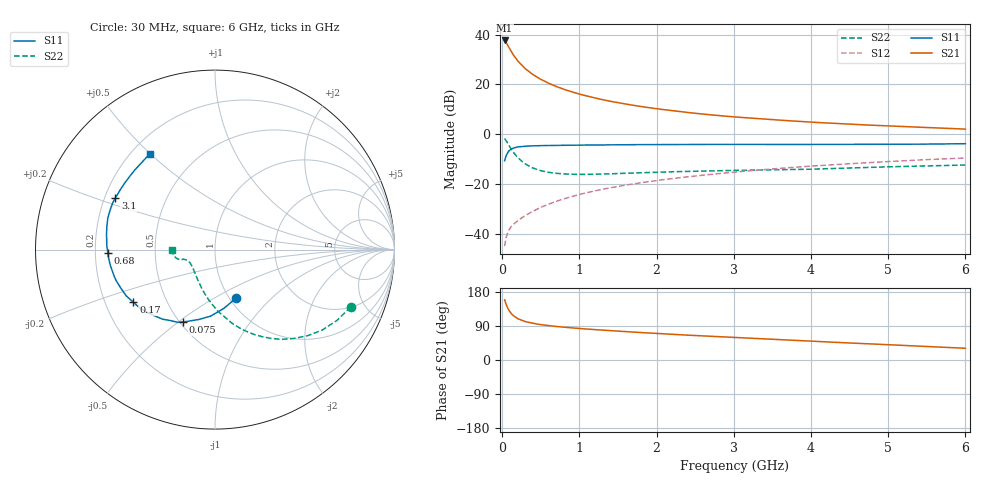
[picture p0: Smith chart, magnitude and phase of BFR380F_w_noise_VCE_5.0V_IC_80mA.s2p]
! Infineon Technologies  Discrete & RF Semiconductors
! BFR380F
! VCE =  5.0 V,  IC =  80 mA
! Common Emitter S-Parameters:  Nov 2015
# GHz  S  MA  R  50
!  f  S11  S21  S12  S22
! GHz  MAG  ANG  MAG  ANG  MAG  ANG  MAG  ANG
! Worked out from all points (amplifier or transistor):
!   206 points, 30 MHz to 6 GHz, reference 50 ohm
!   highest |S21| = 37.6 dB at 30 MHz (marker M1)
!   |S21| within 3 dB of that: start of sweep to 88.64 MHz
!   unconditionally stable (mu >= 1): 671.5 MHz to 4.732 GHz
!   at 200 MHz: K = 0.70, MSG = 32.1 dB, |S12| = -34.7 dB
!   at 1.56 GHz: K = 1.05, MAG = 15.1 dB, |S12| = -20.6 dB
!   at 6 GHz: K = 0.98, MSG = 5.8 dB, |S12| = -9.5 dB
!   lowest NFmin = 1.95 dB at 450 MHz
!   S11 on the Smith chart (normalised r, x): 30 MHz: 1.07, -0.63; 75 MHz: 0.52, -0.52; 170 MHz: 0.32, -0.27; 680 MHz: 0.25, -0.02; 3.1 GHz: 0.24, +0.23; 6 GHz: 0.27, +0.50
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0.03  0.2953 -67.0  76.02 158.7  0.0057 75.0  0.821 -22.9
0.04  0.3315 -81.5  72.56 152.5  0.0071 71.9  0.786 -30.1
0.05  0.3717 -93.8  68.9 146.4  0.0085 68.5  0.7469 -36.9
0.07  0.4283 -111.0  60.68 136.9  0.0106 64.0  0.663 -48.3
0.075  0.441 -114.1  58.79 135.2  0.0111 62.9  0.6427 -50.7
0.09  0.4682 -122.5  53.34 129.8  0.0123 60.6  0.5865 -57.6
0.1  0.4859 -127.1  50.09 126.7  0.013 59.6  0.5524 -61.5
0.12  0.5067 -134.8  44.41 121.6  0.0143 58.4  0.4927 -68.4
0.15  0.5326 -143.3  37.63 115.8  0.0159 58.1  0.4227 -76.8
0.17  0.541 -147.1  34.36 113.5  0.0169 58.5  0.3888 -80.6
0.2  0.5578 -152.5  29.58 109.0  0.0184 59.1  0.3419 -87.6
0.24  0.5659 -157.3  25.36 105.6  0.0205 60.6  0.2993 -94.0
0.3  0.578 -163.0  20.55 101.3  0.0235 62.8  0.2533 -102.9
0.36  0.5829 -166.8  17.34 98.4  0.0266 64.8  0.2245 -109.8
0.45  0.5894 -171.1  13.97 94.8  0.0314 67.3  0.1965 -118.7
0.68  0.5975 -178.1  9.359 89.0  0.0441 70.9  0.166 -134.7
1.04  0.6056 175.1  6.151 82.5  0.0643 73.0  0.1568 -148.9
2.02  0.6224 162.9  3.218 69.9  0.1192 72.3  0.1735 -161.0
3.1  0.6252 152.7  2.174 58.5  0.1793 68.8  0.1895 -163.4
4.1  0.6248 143.0  1.717 48.6  0.2351 64.2  0.2012 -163.4
5.1  0.6303 133.8  1.447 39.4  0.2888 59.3  0.2243 -168.8
6  0.6461 124.2  1.269 31.0  0.3342 53.9  0.2414 -179.5
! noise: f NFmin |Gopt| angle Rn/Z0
0.45  1.95  0.5  -173  0.08
0.9  1.97  0.53  -170  0.08
1.8  2.31  0.57  -158  0.12
1.9  2.43  0.58  -158  0.12
2.4  2.52  0.58  -149  0.18
3.5  3.31  0.61  -139  0.36
